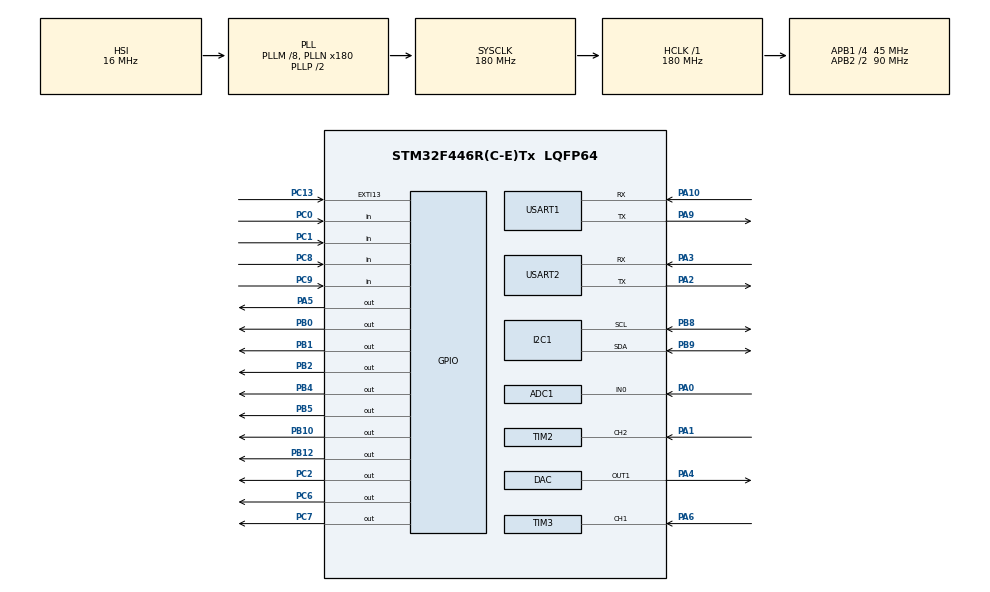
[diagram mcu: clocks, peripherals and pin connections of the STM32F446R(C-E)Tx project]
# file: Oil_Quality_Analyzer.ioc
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ADC1.Channel-0\#ChannelRegularConversion=ADC_CHANNEL_0
ADC1.ContinuousConvMode=ENABLE
ADC1.DMAContinuousRequests=ENABLE
ADC1.NbrOfConversionFlag=1
ADC1.Rank-0\#ChannelRegularConversion=1
ADC1.SamplingTime-0\#ChannelRegularConversion=ADC_SAMPLETIME_84CYCLES
ADC1.master=1
DAC.DAC_Trigger=DAC_TRIGGER_T6_TRGO
Dma.ADC1.1.Direction=DMA_PERIPH_TO_MEMORY
Dma.ADC1.1.FIFOMode=DMA_FIFOMODE_DISABLE
Dma.ADC1.1.Instance=DMA2_Stream0
Dma.ADC1.1.MemDataAlignment=DMA_MDATAALIGN_HALFWORD
Dma.ADC1.1.MemInc=DMA_MINC_ENABLE
Dma.ADC1.1.Mode=DMA_CIRCULAR
Dma.ADC1.1.PeriphDataAlignment=DMA_PDATAALIGN_HALFWORD
Dma.ADC1.1.PeriphInc=DMA_PINC_DISABLE
Dma.ADC1.1.Priority=DMA_PRIORITY_LOW
Dma.DAC1.0.Direction=DMA_MEMORY_TO_PERIPH
Dma.DAC1.0.FIFOMode=DMA_FIFOMODE_DISABLE
Dma.DAC1.0.Instance=DMA1_Stream5
Dma.DAC1.0.MemDataAlignment=DMA_MDATAALIGN_HALFWORD
Dma.DAC1.0.MemInc=DMA_MINC_ENABLE
Dma.DAC1.0.Mode=DMA_CIRCULAR
Dma.DAC1.0.PeriphDataAlignment=DMA_PDATAALIGN_HALFWORD
Dma.DAC1.0.PeriphInc=DMA_PINC_DISABLE
Dma.DAC1.0.Priority=DMA_PRIORITY_LOW
Dma.Request0=DAC1
Dma.Request1=ADC1
Mcu.Family=STM32F4
Mcu.Name=STM32F446R(C-E)Tx
Mcu.Package=LQFP64
NUCLEO-F446RE.BUTTON=1
NUCLEO-F446RE.LD1=true
NVIC.DMA1_Stream5_IRQn=true\:0\:0\:false\:false\:true\:false\:true\:true
NVIC.DMA2_Stream0_IRQn=true\:0\:0\:false\:false\:true\:false\:true\:true
NVIC.PriorityGroup=NVIC_PRIORITYGROUP_0
NVIC.TIM2_IRQn=true\:0\:0\:false\:false\:true\:true\:true\:true
NVIC.USART2_IRQn=true\:0\:0\:false\:false\:true\:true\:true\:true
PA0-WKUP.Signal=ADCx_IN0
PA1.Signal=S_TIM2_CH2
PA10.Mode=Asynchronous
PA10.Signal=USART1_RX
PA13.GPIO_Label=TMS
PA13.Signal=SYS_JTMS-SWDIO
PA14.GPIO_Label=TCK
PA14.Signal=SYS_JTCK-SWCLK
PA2.Mode=Asynchronous
PA2.Signal=USART2_TX
PA3.Mode=Asynchronous
PA3.Signal=USART2_RX
PA4.Signal=COMP_DAC1_group
PA5.Signal=GPIO_Output
PA6.Signal=S_TIM3_CH1
PA9.Mode=Asynchronous
PA9.Signal=USART1_TX
PB0.Signal=GPIO_Output
PB1.Signal=GPIO_Output
PB10.Signal=GPIO_Output
PB12.Signal=GPIO_Output
PB2.Signal=GPIO_Output
PB3.GPIO_Label=SWO
PB3.Signal=SYS_JTDO-SWO
PB4.Signal=GPIO_Output
PB5.Signal=GPIO_Output
PB8.Mode=I2C
PB8.Signal=I2C1_SCL
PB9.Mode=I2C
PB9.Signal=I2C1_SDA
PC0.Signal=GPIO_Input
PC1.GPIO_PuPd=GPIO_PULLUP
PC1.Signal=GPIO_Input
PC13.Signal=GPXTI13
PC14-OSC32_IN.Signal=RCC_OSC32_IN
PC15-OSC32_OUT.Signal=RCC_OSC32_OUT
PC2.Signal=GPIO_Output
PC6.Signal=GPIO_Output
PC7.Signal=GPIO_Output
PC8.Signal=GPIO_Input
PC9.Signal=GPIO_Input
PH0-OSC_IN.Signal=RCC_OSC_IN
PH1-OSC_OUT.Signal=RCC_OSC_OUT
ProjectManager.HeapSize=0x800
ProjectManager.StackSize=0x800
ProjectManager.TargetToolchain=STM32CubeIDE
RCC.AHBFreq_Value=180000000
RCC.APB1CLKDivider=RCC_HCLK_DIV4
RCC.APB1Freq_Value=45000000
RCC.APB1TimFreq_Value=90000000
RCC.APB2CLKDivider=RCC_HCLK_DIV2
RCC.APB2Freq_Value=90000000
RCC.APB2TimFreq_Value=180000000
RCC.CortexFreq_Value=180000000
RCC.FLatency-AdvancedSettings=FLASH_LATENCY_5
RCC.HCLKFreq_Value=180000000
RCC.HSE_VALUE=8000000
RCC.HSI_VALUE=16000000
RCC.LSE_VALUE=32768
RCC.PLLM=8
RCC.PLLN=180
RCC.PLLP=2
RCC.SYSCLKFreq_VALUE=180000000
RCC.SYSCLKSource=RCC_SYSCLKSOURCE_PLLCLK
RCC.USBFreq_Value=180000000
RCC.VCOOutputFreq_Value=360000000
SH.ADCx_IN0.0=ADC1_IN0,IN0
SH.COMP_DAC1_group.0=DAC_OUT1,DAC_OUT1
SH.S_TIM2_CH2.0=TIM2_CH2,Input_Capture2_from_TI2
SH.S_TIM3_CH1.0=TIM3_CH1,Input_Capture1_from_TI1
STMicroelectronics.X-CUBE-AI.10.2.1.ActivationBufferSizeList=10656
STMicroelectronics.X-CUBE-AI.10.2.1.ActivationBuffers=pool0
STMicroelectronics.X-CUBE-AI.10.2.1.ActivationNames=pool0
STMicroelectronics.X-CUBE-AI.10.2.1.ActivationSizes=AI_NETWORK_DATA_ACTIVATION_1_SIZE
STMicroelectronics.X-CUBE-AI.10.2.1.HeapSize=0x800
STMicroelectronics.X-CUBE-AI.10.2.1.InternalRamActivationBufferMaxSize=AI_NETWORK_DATA_ACTIVATIONS_SIZE
STMicroelectronics.X-CUBE-AI.10.2.1.LatestDirectoryUsed-713203b5ce6abf2aa2e4bab63b7be69a73a8976a0b17b081a81042c10fd89c64=C\:\\Users\\hari1\\Desktop\\Academics\\CO2 paper\\TinyCNN_v2_Project_Backup
STMicroelectronics.X-CUBE-AI.10.2.1.MaximumNumberOfInputLayer=1
STMicroelectronics.X-CUBE-AI.10.2.1.MaximumNumberOfOutputLayer=1
STMicroelectronics.X-CUBE-AI.10.2.1.MaximumSizeOfInputLayer=1
STMicroelectronics.X-CUBE-AI.10.2.1.MaximumSizeOfOutputLayer=1
STMicroelectronics.X-CUBE-AI.10.2.1.ModelActualCompression-713203b5ce6abf2aa2e4bab63b7be69a73a8976a0b17b081a81042c10fd89c64=0.0
STMicroelectronics.X-CUBE-AI.10.2.1.ModelCompression-713203b5ce6abf2aa2e4bab63b7be69a73a8976a0b17b081a81042c10fd89c64=None
STMicroelectronics.X-CUBE-AI.10.2.1.ModelFlashOccupation-713203b5ce6abf2aa2e4bab63b7be69a73a8976a0b17b081a81042c10fd89c64=23992
STMicroelectronics.X-CUBE-AI.10.2.1.ModelHashList=713203b5ce6abf2aa2e4bab63b7be69a73a8976a0b17b081a81042c10fd89c64
STMicroelectronics.X-CUBE-AI.10.2.1.ModelKind-713203b5ce6abf2aa2e4bab63b7be69a73a8976a0b17b081a81042c10fd89c64=TFLITE
STMicroelectronics.X-CUBE-AI.10.2.1.ModelMacc-713203b5ce6abf2aa2e4bab63b7be69a73a8976a0b17b081a81042c10fd89c64=123985
STMicroelectronics.X-CUBE-AI.10.2.1.ModelName-713203b5ce6abf2aa2e4bab63b7be69a73a8976a0b17b081a81042c10fd89c64=network
STMicroelectronics.X-CUBE-AI.10.2.1.ModelNameList=network
STMicroelectronics.X-CUBE-AI.10.2.1.ModelRamOccupation-713203b5ce6abf2aa2e4bab63b7be69a73a8976a0b17b081a81042c10fd89c64=10656
STMicroelectronics.X-CUBE-AI.10.2.1.ModelStructureFile-713203b5ce6abf2aa2e4bab63b7be69a73a8976a0b17b081a81042c10fd89c64=C\:\\Users\\hari1\\Desktop\\Academics\\CO2 paper\\TinyCNN_v2_Project_Backup\\tinycnn_fp32.tflite
STMicroelectronics.X-CUBE-AI.10.2.1.ModelType-713203b5ce6abf2aa2e4bab63b7be69a73a8976a0b17b081a81042c10fd89c64=STM32Cube.AI MCU runtime
STMicroelectronics.X-CUBE-AI.10.2.1.ReadyForCodeGeneration=true
STMicroelectronics.X-CUBE-AI.10.2.1.StackSize=0x800
STMicroelectronics.X-CUBE-AI.10.2.1.WorkingBufferStartAddrList=0xFFFFFFFF
STMicroelectronics.X-CUBE-AI.10.2.1.XAaCUBEAaAICcArtificialOoIntelligenceJjCore=true
STMicroelectronics.X-CUBE-AI.10.2.1.copyWeightToRam=false
STMicroelectronics.X-CUBE-AI.10.2.1.copyWeightToRam-713203b5ce6abf2aa2e4bab63b7be69a73a8976a0b17b081a81042c10fd89c64=false
STMicroelectronics.X-CUBE-AI.10.2.1.customLayerConfigEnabled=false
STMicroelectronics.X-CUBE-AI.10.2.1.customLayerConfigEnabled-713203b5ce6abf2aa2e4bab63b7be69a73a8976a0b17b081a81042c10fd89c64=false
STMicroelectronics.X-CUBE-AI.10.2.1.noOnnxIoTranspose=false
STMicroelectronics.X-CUBE-AI.10.2.1.noOnnxIoTranspose-713203b5ce6abf2aa2e4bab63b7be69a73a8976a0b17b081a81042c10fd89c64=false
STMicroelectronics.X-CUBE-AI.10.2.1.useInputAllocation=true
STMicroelectronics.X-CUBE-AI.10.2.1.useInputAllocation-713203b5ce6abf2aa2e4bab63b7be69a73a8976a0b17b081a81042c10fd89c64=true
STMicroelectronics.X-CUBE-AI.10.2.1.useOutputAllocation=true
STMicroelectronics.X-CUBE-AI.10.2.1.useOutputAllocation-713203b5ce6abf2aa2e4bab63b7be69a73a8976a0b17b081a81042c10fd89c64=true
TIM2.Channel-Input_Capture2_from_TI2=TIM_CHANNEL_2
TIM2.Prescaler=89
TIM3.Channel-Input_Capture1_from_TI1=TIM_CHANNEL_1
TIM6.Period=624
TIM6.TIM_MasterOutputTrigger=TIM_TRGO_UPDATE
USART1.VirtualMode=VM_ASYNC
USART2.VirtualMode=VM_ASYNC
VP_CRC_VS_CRC.Mode=CRC_Activate
VP_NUCLEO-F446RE_VS_BSP_COMMON.Mode=COMMON
VP_STMicroelectronics.X-CUBE-AI_VS_ArtificialOoIntelligenceJjXAaCUBEAaAI_10.2.1.Mode=ArtificialOoIntelligenceJjXAaCUBEAaAI
VP_TIM6_VS_ClockSourceINT.Mode=Enable_Timer
board=NUCLEO-F446RE

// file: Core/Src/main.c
/* USER CODE BEGIN Header */
/**
  ******************************************************************************
  * @file           : main.c
  * @brief          : Main program body
  ******************************************************************************
  * @attention
  *
  * Copyright (c) 2026 STMicroelectronics.
  * All rights reserved.
  *
  * This software is licensed under terms that can be found in the LICENSE file
  * in the root directory of this software component.
  * If no LICENSE file comes with this software, it is provided AS-IS.
  *
  ******************************************************************************
  */
/* USER CODE END Header */
#include "main.h"

/* USER CODE BEGIN Includes */
#include <stdio.h>
#include <string.h>
#include <stdarg.h>

#include "lcd.h"
#include "ds18b20.h"
#include "impedance.h"
#include "gradient_boosting_model.h"

/* USER CODE END Includes */

/* USER CODE BEGIN PD */

#define TCS_S0_PORT GPIOB
#define TCS_S0_PIN  GPIO_PIN_0

#define TCS_S1_PORT GPIOB
#define TCS_S1_PIN  GPIO_PIN_1

#define TCS_S2_PORT GPIOB
#define TCS_S2_PIN  GPIO_PIN_2

#define TCS_S3_PORT GPIOB
#define TCS_S3_PIN  GPIO_PIN_10

#define DHT11_PORT GPIOB
#define DHT11_PIN  GPIO_PIN_12

/* USER CODE END PD */

ADC_HandleTypeDef hadc1;
DMA_HandleTypeDef hdma_adc1;

CRC_HandleTypeDef hcrc;

DAC_HandleTypeDef hdac;
DMA_HandleTypeDef hdma_dac1;

I2C_HandleTypeDef hi2c1;

TIM_HandleTypeDef htim2;
TIM_HandleTypeDef htim3;
TIM_HandleTypeDef htim6;

UART_HandleTypeDef huart1;
UART_HandleTypeDef huart2;

/* USER CODE BEGIN PV */

float dht11_humidity = 0.0f;
volatile uint32_t tcs_capture1 = 0;
volatile uint32_t tcs_capture2 = 0;
volatile uint32_t tcs_period = 0;

volatile uint32_t tcs_edge_count = 0;

volatile uint8_t tcs_capture_done = 0;
volatile uint8_t tcs_capture_state = 0;

uint32_t tcs_red = 0;
uint32_t tcs_green = 0;
uint32_t tcs_blue = 0;

/* Impedance */
ImpedanceResult_t impedance_result;

/* USER CODE END PV */

void SystemClock_Config(void);
static void MX_GPIO_Init(void);
static void MX_DMA_Init(void);
static void MX_CRC_Init(void);
static void MX_ADC1_Init(void);
static void MX_I2C1_Init(void);
static void MX_TIM3_Init(void);
static void MX_USART1_UART_Init(void);
static void MX_TIM2_Init(void);
static void MX_USART2_UART_Init(void);
static void MX_DAC_Init(void);
static void MX_TIM6_Init(void);

/* USER CODE BEGIN 0 */

static void Debug_Print(const char *text)
{
    HAL_UART_Transmit(
        &huart2,
        (uint8_t *)text,
        strlen(text),
        HAL_MAX_DELAY
    );
}

static void Debug_Printf(const char *format, ...)
{
    char buffer[256];
    va_list args;

    va_start(args, format);

    vsnprintf(
        buffer,
        sizeof(buffer),
        format,
        args
    );

    va_end(args);

    HAL_UART_Transmit(
        &huart2,
        (uint8_t *)buffer,
        strlen(buffer),
        HAL_MAX_DELAY
    );
}

/* =========================================================
 * DHT11 FUNCTIONS
 * ========================================================= */

static void DHT11_SetOutput(void)
{
    GPIO_InitTypeDef GPIO_InitStruct = {0};

    GPIO_InitStruct.Pin = DHT11_PIN;
    GPIO_InitStruct.Mode = GPIO_MODE_OUTPUT_PP;
    GPIO_InitStruct.Pull = GPIO_NOPULL;
    GPIO_InitStruct.Speed = GPIO_SPEED_FREQ_HIGH;

    HAL_GPIO_Init(DHT11_PORT, &GPIO_InitStruct);
}

static void DHT11_SetInput(void)
{
    GPIO_InitTypeDef GPIO_InitStruct = {0};

    GPIO_InitStruct.Pin = DHT11_PIN;
    GPIO_InitStruct.Mode = GPIO_MODE_INPUT;
    GPIO_InitStruct.Pull = GPIO_PULLUP;
    GPIO_InitStruct.Speed = GPIO_SPEED_FREQ_HIGH;

    HAL_GPIO_Init(DHT11_PORT, &GPIO_InitStruct);
}

/*
 * Microsecond delay using DWT cycle counter.
 */
static void DHT11_Delay_us(uint32_t us)
{
    uint32_t start = DWT->CYCCNT;

    uint32_t cycles =
        us * (HAL_RCC_GetHCLKFreq() / 1000000U);

    while ((DWT->CYCCNT - start) < cycles)
    {
    }
}

/*
 * Initialize DWT cycle counter.
 */
static void DHT11_DWT_Init(void)
{
    CoreDebug->DEMCR |= CoreDebug_DEMCR_TRCENA_Msk;

    DWT->CYCCNT = 0;

    DWT->CTRL |= DWT_CTRL_CYCCNTENA_Msk;
}

/*
 * Wait until DHT11 data line reaches requested level.
 */
static uint8_t DHT11_WaitForLevel(
    GPIO_PinState level,
    uint32_t timeout_us)
{
    uint32_t start = DWT->CYCCNT;

    uint32_t timeout_cycles =
        timeout_us *
        (HAL_RCC_GetHCLKFreq() / 1000000U);

    while (HAL_GPIO_ReadPin(
               DHT11_PORT,
               DHT11_PIN) != level)
    {
        if ((DWT->CYCCNT - start) > timeout_cycles)
        {
            return 0;
        }
    }

    return 1;
}

/*
 * Read DHT11 humidity.
 *
 * DHT11 sends 40 bits:
 *
 * Byte 0 = Humidity integer
 * Byte 1 = Humidity decimal
 * Byte 2 = Temperature integer
 * Byte 3 = Temperature decimal
 * Byte 4 = Checksum
 *
 * For DHT11:
 *
 * Humidity = data[0]
 * Temperature = data[2]
 */
static HAL_StatusTypeDef DHT11_Read(float *humidity)
{
    uint8_t data[5] = {0};

    if (humidity == NULL)
    {
        return HAL_ERROR;
    }

    /* DHT11 requires a start pulse of at least 18 ms. */
    DHT11_SetOutput();
    HAL_GPIO_WritePin(DHT11_PORT, DHT11_PIN, GPIO_PIN_RESET);
    HAL_Delay(20);
    HAL_GPIO_WritePin(DHT11_PORT, DHT11_PIN, GPIO_PIN_SET);
    DHT11_Delay_us(30);
    DHT11_SetInput();

    /* Sensor response: LOW (~80 us), then HIGH (~80 us). */
    if (!DHT11_WaitForLevel(GPIO_PIN_RESET, 100U) ||
        !DHT11_WaitForLevel(GPIO_PIN_SET, 100U) ||
        !DHT11_WaitForLevel(GPIO_PIN_RESET, 100U))
    {
        return HAL_TIMEOUT;
    }

    /* Read 40 bits. A longer HIGH pulse represents a one. */
    for (uint8_t bit = 0; bit < 40U; bit++)
    {
        if (!DHT11_WaitForLevel(GPIO_PIN_SET, 100U))
        {
            return HAL_TIMEOUT;
        }

        DHT11_Delay_us(40U);
        data[bit / 8U] <<= 1U;
        if (HAL_GPIO_ReadPin(DHT11_PORT, DHT11_PIN) == GPIO_PIN_SET)
        {
            data[bit / 8U] |= 1U;
        }

        if (!DHT11_WaitForLevel(GPIO_PIN_RESET, 100U))
        {
            return HAL_TIMEOUT;
        }
    }

    /* DHT11 checksum is the low eight bits of the first four bytes' sum. */
    if ((uint8_t)(data[0] + data[1] + data[2] + data[3]) != data[4])
    {
        return HAL_ERROR;
    }

    /* DHT11 reports integer humidity in data[0]. */
    *humidity = (float)data[0] + ((float)data[1] / 10.0f);
    return HAL_OK;
}

/* =========================================================
 * TCS3200 FUNCTIONS
 * ========================================================= */

static void TCS3200_SetFilter(uint8_t filter)
{
    switch (filter)
    {
        case 0:     // RED
            HAL_GPIO_WritePin(TCS_S2_PORT, TCS_S2_PIN, GPIO_PIN_RESET);
            HAL_GPIO_WritePin(TCS_S3_PORT, TCS_S3_PIN, GPIO_PIN_RESET);
            break;

        case 1:     // GREEN
            HAL_GPIO_WritePin(TCS_S2_PORT, TCS_S2_PIN, GPIO_PIN_SET);
            HAL_GPIO_WritePin(TCS_S3_PORT, TCS_S3_PIN, GPIO_PIN_SET);
            break;

        case 2:     // BLUE
            HAL_GPIO_WritePin(TCS_S2_PORT, TCS_S2_PIN, GPIO_PIN_RESET);
            HAL_GPIO_WritePin(TCS_S3_PORT, TCS_S3_PIN, GPIO_PIN_SET);
            break;

        case 3:     // CLEAR
            HAL_GPIO_WritePin(TCS_S2_PORT, TCS_S2_PIN, GPIO_PIN_SET);
            HAL_GPIO_WritePin(TCS_S3_PORT, TCS_S3_PIN, GPIO_PIN_RESET);
            break;
    }
}

static void TCS3200_Init(void)
{
    Debug_Print("[TCS] Initializing...\r\n");

    /*
     * S0 = HIGH
     * S1 = LOW
     *
     * Frequency scaling = 20%
     */
    HAL_GPIO_WritePin(
        TCS_S0_PORT,
        TCS_S0_PIN,
        GPIO_PIN_SET
    );

    HAL_GPIO_WritePin(
        TCS_S1_PORT,
        TCS_S1_PIN,
        GPIO_PIN_RESET
    );

    /*
     * Start with RED filter.
     */
    TCS3200_SetFilter(0);

    /*
     * Reset debug counters.
     */
    tcs_edge_count = 0;
    tcs_capture_done = 0;
    tcs_capture_state = 0;
    tcs_period = 0;

    /*
     * Start TIM3 CH1 input capture.
     *
     * PA6 = TIM3_CH1 = TCS OUT
     */
    if (HAL_TIM_IC_Start_IT(
            &htim3,
            TIM_CHANNEL_1
        ) != HAL_OK)
    {
        Debug_Print("[TCS][ERROR] TIM3 CH1 start FAILED\r\n");
        return;
    }

    Debug_Print("[TCS][OK] TIM3 CH1 capture started\r\n");

    Debug_Printf(
        "[TCS] S0=%d S1=%d S2=%d S3=%d\r\n",
        HAL_GPIO_ReadPin(TCS_S0_PORT, TCS_S0_PIN),
        HAL_GPIO_ReadPin(TCS_S1_PORT, TCS_S1_PIN),
        HAL_GPIO_ReadPin(TCS_S2_PORT, TCS_S2_PIN),
        HAL_GPIO_ReadPin(TCS_S3_PORT, TCS_S3_PIN)
    );

    Debug_Print("[TCS] OUT = PA6 / TIM3_CH1\r\n");
}

static uint32_t TCS3200_ReadFrequency(void)
{
    uint32_t timeout;

    tcs_capture_done = 0;
    tcs_capture_state = 0;
    tcs_period = 0;

    uint32_t edges_before = tcs_edge_count;

    timeout = HAL_GetTick();

    while (!tcs_capture_done)
    {
        if ((HAL_GetTick() - timeout) > 100)
        {
            Debug_Printf(
                "[TCS][DEBUG] TIMEOUT | edges=%lu | period=%lu\r\n",
                tcs_edge_count - edges_before,
                tcs_period
            );

            return 0;
        }
    }

    Debug_Printf(
        "[TCS][DEBUG] edges=%lu period=%lu\r\n",
        tcs_edge_count - edges_before,
        tcs_period
    );

    if (tcs_period == 0)
    {
        Debug_Print("[TCS][ERROR] Period = 0\r\n");
        return 0;
    }

    uint32_t frequency =
        1000000UL / tcs_period;

    Debug_Printf(
        "[TCS][OK] Frequency = %lu Hz\r\n",
        frequency
    );

    return frequency;
}

static uint32_t TCS3200_ReadColor(uint8_t filter)
{
    TCS3200_SetFilter(filter);

    /*
     * Allow the sensor output to settle after
     * changing the color filter.
     */
    HAL_Delay(50);

    return TCS3200_ReadFrequency();
}

static void TCS3200_ReadRGB(
    uint32_t *red,
    uint32_t *green,
    uint32_t *blue)
{
    *red = TCS3200_ReadColor(0);
    *green = TCS3200_ReadColor(1);
    *blue = TCS3200_ReadColor(2);
}

/*
 * TCS3200-only oil appearance classification.
 * These thresholds are provisional and must be calibrated against measured
 * fresh/used-oil samples under controlled illumination and fixed geometry.
 * This classification is independent of the ML remaining-cycle prediction.
 * Return 1 for FRESH and 0 for USED.
 */
static uint8_t TCS_ClassifyOil(uint32_t red, uint32_t green, uint32_t blue)
{
    uint8_t fresh_score = 0U;

    if (red >= 393U)   fresh_score++;
    if (green >= 397U) fresh_score++;
    if (blue >= 493U)  fresh_score++;

    return (fresh_score >= 2U) ? 1U : 0U;
}

int main(void)
{

  /* USER CODE BEGIN 1 */

     float temperature = 0.0f;
    HAL_StatusTypeDef temperature_status = HAL_ERROR;
    HAL_StatusTypeDef humidity_status = HAL_ERROR;
    HAL_StatusTypeDef impedance_status = HAL_ERROR;
    char lcd_line1[17];
    char lcd_line2[17];
    uint8_t lcd_page = 0U;
    uint8_t oil_is_fresh = 0U;
    uint8_t tcs_readings_valid = 0U;
    uint8_t model_inputs_valid = 0U;
    int32_t remaining_cycles = -1;
  /* USER CODE END 1 */

  /* MCU Configuration--------------------------------------------------------*/

  /* Reset of all peripherals, Initializes the Flash interface and the Systick. */
  HAL_Init();

  /* Configure the system clock */
  SystemClock_Config();

  /* Initialize all configured peripherals */
  MX_GPIO_Init();
  MX_DMA_Init();
  MX_CRC_Init();
  MX_ADC1_Init();
  MX_I2C1_Init();
  MX_TIM3_Init();
  MX_USART1_UART_Init();
  MX_TIM2_Init();
  MX_USART2_UART_Init();
  MX_DAC_Init();
  MX_TIM6_Init();
  /* USER CODE BEGIN 2 */

  DHT11_DWT_Init();

  Debug_Print("\r\n\r\n");

  Debug_Print("Oil Quality Analyzer - live sensor acquisition\r\n");

  Debug_Print("\r\n");

  /* =========================================================
   * LCD
   * ========================================================= */

  Debug_Print("[INIT] Initializing LCD...\r\n");

  LCD_Init(&hi2c1);

  LCD_Clear();

  LCD_SetCursor(0, 0);
  LCD_Print("Oil Quality");

  LCD_SetCursor(1, 0);
  LCD_Print("Initializing...");

  HAL_Delay(1500);

  Debug_Print("[OK] LCD initialized\r\n");

  /* =========================================================
   * DS18B20
   * ========================================================= */

  Debug_Print("[INIT] Checking DS18B20...\r\n");

  if (DS18B20_Init() == HAL_OK)
  {
      Debug_Print("[OK] DS18B20 detected\r\n");
  }
  else
  {
      Debug_Print("[WARN] DS18B20 NOT detected\r\n");
  }

  /* =========================================================
   * IMPEDANCE
   * ========================================================= */

  Debug_Print("[INIT] Initializing impedance measurement...\r\n");

  Impedance_Init();

  Debug_Print("[OK] Impedance initialized\r\n");

  /* =========================================================
   * TCS3200
   * ========================================================= */

  Debug_Print("[INIT] Initializing TCS3200...\r\n");

  TCS3200_Init();

  Debug_Print("[OK] TCS3200 initialized\r\n");

  /* =========================================================
   * SYSTEM READY
   * ========================================================= */

  Debug_Print("\r\n");

  Debug_Print("========================================\r\n");
  Debug_Print("       SYSTEM READY\r\n");
  Debug_Print("========================================\r\n");

  Debug_Print("\r\n");

  LCD_Clear();

  LCD_SetCursor(0, 0);
  LCD_Print("Live Readings");

  LCD_SetCursor(1, 0);
  LCD_Print("Sensors starting");

  HAL_Delay(500);

  /* USER CODE END 2 */

  /* Initialize leds */
  BSP_LED_Init(LED2);

  /* Initialize USER push-button, will be used to trigger an interrupt each time it's pressed.*/
  BSP_PB_Init(BUTTON_USER, BUTTON_MODE_EXTI);

  /* Infinite loop */
  /* USER CODE BEGIN WHILE */
  while (1)
  {
      /* Acquire actual temperature from the DS18B20. */
      temperature_status = DS18B20_ReadTemperature(&temperature);

      /* Acquire actual relative humidity from the DHT11. */
      humidity_status = DHT11_Read(&dht11_humidity);

      /* Read the TCS3200 output frequencies for each colour filter. */
      TCS3200_ReadRGB(&tcs_red, &tcs_green, &tcs_blue);

      /* Measure the analog response of the impedance circuit. */
      impedance_status = Impedance_Measure(&impedance_result);

      /* Classify oil from TCS3200 readings only (provisional thresholds). */
      tcs_readings_valid = (tcs_red > 0U && tcs_green > 0U && tcs_blue > 0U);
      if (tcs_readings_valid)
      {
          oil_is_fresh = TCS_ClassifyOil(tcs_red, tcs_green, tcs_blue);
      }

      /*
       * Run the ML model only when every required input is a successful,
       * non-zero live acquisition. The model output is remaining cycles only;
       * it does not decide whether the oil is fresh or used.
       */
      model_inputs_valid = (temperature_status == HAL_OK) &&
                           (humidity_status == HAL_OK) &&
                           (impedance_status == HAL_OK) &&
                           tcs_readings_valid;
      remaining_cycles = -1;
      if (model_inputs_valid)
      {
          remaining_cycles = oil_quality_predict(
              temperature,
              dht11_humidity,
              (float)tcs_red,
              (float)tcs_green,
              (float)tcs_blue,
              impedance_result.ac_rms_voltage
          );

          if (remaining_cycles < 0 || remaining_cycles > 4)
          {
              remaining_cycles = -1;
          }
      }

      /* Print raw acquired values, sensor-derived oil class, and ML estimate. */
      Debug_Print("\r\n========== LIVE SENSOR READINGS ==========\r\n");

      if (temperature_status == HAL_OK)
          Debug_Printf("DS18B20 temperature: %.2f C\r\n", temperature);
      else
          Debug_Printf("DS18B20 temperature: ERROR (status=%d)\r\n", temperature_status);

      if (humidity_status == HAL_OK)
          Debug_Printf("DHT11 humidity: %.1f %%RH\r\n", dht11_humidity);
      else
          Debug_Printf("DHT11 humidity: ERROR (status=%d)\r\n", humidity_status);

      Debug_Printf("TCS3200 red frequency: %lu Hz\r\n", tcs_red);
      Debug_Printf("TCS3200 green frequency: %lu Hz\r\n", tcs_green);
      Debug_Printf("TCS3200 blue frequency: %lu Hz\r\n", tcs_blue);

      if (impedance_status == HAL_OK)
      {
          Debug_Printf("Impedance circuit DC voltage: %.4f V\r\n", impedance_result.dc_voltage);
          Debug_Printf("Impedance circuit RMS voltage: %.4f V\r\n", impedance_result.rms_voltage);
          Debug_Printf("Impedance circuit AC RMS voltage: %.4f V\r\n", impedance_result.ac_rms_voltage);
          Debug_Printf("Excitation frequency: %lu Hz\r\n", impedance_result.frequency_hz);
      }
      else
      {
          Debug_Printf("Impedance circuit measurement: ERROR (status=%d)\r\n", impedance_status);
      }

      if (tcs_readings_valid)
          Debug_Printf("TCS-based oil classification: %s\r\n", oil_is_fresh ? "FRESH" : "USED");
      else
          Debug_Print("TCS-based oil classification: UNAVAILABLE (sensor timeout)\r\n");

      if (remaining_cycles >= 0)
          Debug_Printf("ML predicted remaining frying cycles: %ld\r\n", (long)remaining_cycles);
      else
          Debug_Print("ML remaining-cycle prediction: UNAVAILABLE (invalid sensor input)\r\n");

      Debug_Print("==========================================\r\n");

      /* Rotate the 16x2 LCD through four pages of measurements and results. */
      LCD_Clear();
      switch (lcd_page)
      {
          case 0U:
              if (temperature_status == HAL_OK)
                  snprintf(lcd_line1, sizeof(lcd_line1), "Temp: %.1f C", temperature);
              else
                  snprintf(lcd_line1, sizeof(lcd_line1), "Temp: SENSOR ERR");

              if (humidity_status == HAL_OK)
                  snprintf(lcd_line2, sizeof(lcd_line2), "Humidity: %.1f%%", dht11_humidity);
              else
                  snprintf(lcd_line2, sizeof(lcd_line2), "Humidity: ERROR");
              break;

          case 1U:
              snprintf(lcd_line1, sizeof(lcd_line1), "R:%lu G:%lu", tcs_red, tcs_green);
              snprintf(lcd_line2, sizeof(lcd_line2), "B:%lu Hz", tcs_blue);
              break;

          case 2U:
              if (impedance_status == HAL_OK)
              {
                  snprintf(lcd_line1, sizeof(lcd_line1), "AC RMS: %.3fV", impedance_result.ac_rms_voltage);
                  snprintf(lcd_line2, sizeof(lcd_line2), "DC: %.3fV", impedance_result.dc_voltage);
              }
              else
              {
                  snprintf(lcd_line1, sizeof(lcd_line1), "Impedance ERROR");
                  snprintf(lcd_line2, sizeof(lcd_line2), "Check circuit");
              }
              break;

          default:
              if (tcs_readings_valid)
                  snprintf(lcd_line1, sizeof(lcd_line1), "Oil: %s", oil_is_fresh ? "FRESH" : "USED");
              else
                  snprintf(lcd_line1, sizeof(lcd_line1), "Oil: TCS ERROR");

              if (remaining_cycles >= 0)
                  snprintf(lcd_line2, sizeof(lcd_line2), "Cycles left: %ld", (long)remaining_cycles);
              else
                  snprintf(lcd_line2, sizeof(lcd_line2), "Cycles: ML N/A");
              break;
      }

      LCD_SetCursor(0, 0);
      LCD_Print(lcd_line1);
      LCD_SetCursor(1, 0);
      LCD_Print(lcd_line2);

      lcd_page = (uint8_t)((lcd_page + 1U) % 4U);
      HAL_Delay(2000);
  }

    /* USER CODE END WHILE */

}

void SystemClock_Config(void)
{
  RCC_OscInitTypeDef RCC_OscInitStruct = {0};
  RCC_ClkInitTypeDef RCC_ClkInitStruct = {0};

  /** Configure the main internal regulator output voltage
  */
  __HAL_RCC_PWR_CLK_ENABLE();
  __HAL_PWR_VOLTAGESCALING_CONFIG(PWR_REGULATOR_VOLTAGE_SCALE1);

  /** Initializes the RCC Oscillators according to the specified parameters
  * in the RCC_OscInitTypeDef structure.
  */
  RCC_OscInitStruct.OscillatorType = RCC_OSCILLATORTYPE_HSI;
  RCC_OscInitStruct.HSIState = RCC_HSI_ON;
  RCC_OscInitStruct.HSICalibrationValue = RCC_HSICALIBRATION_DEFAULT;
  RCC_OscInitStruct.PLL.PLLState = RCC_PLL_ON;
  RCC_OscInitStruct.PLL.PLLSource = RCC_PLLSOURCE_HSI;
  RCC_OscInitStruct.PLL.PLLM = 8;
  RCC_OscInitStruct.PLL.PLLN = 180;
  RCC_OscInitStruct.PLL.PLLP = 2;
  RCC_OscInitStruct.PLL.PLLQ = 2;
  RCC_OscInitStruct.PLL.PLLR = 2;
  if (HAL_RCC_OscConfig(&RCC_OscInitStruct) != HAL_OK)
  {
    Error_Handler();
  }

  /** Activate the Over-Drive mode
  */
  if (HAL_PWREx_EnableOverDrive() != HAL_OK)
  {
    Error_Handler();
  }

  /** Initializes the CPU, AHB and APB buses clocks
  */
  RCC_ClkInitStruct.ClockType = RCC_CLOCKTYPE_HCLK|RCC_CLOCKTYPE_SYSCLK
                              |RCC_CLOCKTYPE_PCLK1|RCC_CLOCKTYPE_PCLK2;
  RCC_ClkInitStruct.SYSCLKSource = RCC_SYSCLKSOURCE_PLLCLK;
  RCC_ClkInitStruct.AHBCLKDivider = RCC_SYSCLK_DIV1;
  RCC_ClkInitStruct.APB1CLKDivider = RCC_HCLK_DIV4;
  RCC_ClkInitStruct.APB2CLKDivider = RCC_HCLK_DIV2;

  if (HAL_RCC_ClockConfig(&RCC_ClkInitStruct, FLASH_LATENCY_5) != HAL_OK)
  {
    Error_Handler();
  }
}

static void MX_ADC1_Init(void)
{

  ADC_ChannelConfTypeDef sConfig = {0};

  /** Configure the global features of the ADC (Clock, Resolution, Data Alignment and number of conversion)
  */
  hadc1.Instance = ADC1;
  hadc1.Init.ClockPrescaler = ADC_CLOCK_SYNC_PCLK_DIV4;
  hadc1.Init.Resolution = ADC_RESOLUTION_12B;
  hadc1.Init.ScanConvMode = DISABLE;
  hadc1.Init.ContinuousConvMode = ENABLE;
  hadc1.Init.DiscontinuousConvMode = DISABLE;
  hadc1.Init.ExternalTrigConvEdge = ADC_EXTERNALTRIGCONVEDGE_NONE;
  hadc1.Init.ExternalTrigConv = ADC_SOFTWARE_START;
  hadc1.Init.DataAlign = ADC_DATAALIGN_RIGHT;
  hadc1.Init.NbrOfConversion = 1;
  hadc1.Init.DMAContinuousRequests = ENABLE;
  hadc1.Init.EOCSelection = ADC_EOC_SINGLE_CONV;
  if (HAL_ADC_Init(&hadc1) != HAL_OK)
  {
    Error_Handler();
  }

  /** Configure for the selected ADC regular channel its corresponding rank in the sequencer and its sample time.
  */
  sConfig.Channel = ADC_CHANNEL_0;
  sConfig.Rank = 1;
  sConfig.SamplingTime = ADC_SAMPLETIME_84CYCLES;
  if (HAL_ADC_ConfigChannel(&hadc1, &sConfig) != HAL_OK)
  {
    Error_Handler();
  }

}

static void MX_CRC_Init(void)
{

  hcrc.Instance = CRC;
  if (HAL_CRC_Init(&hcrc) != HAL_OK)
  {
    Error_Handler();
  }

}

static void MX_DAC_Init(void)
{

  DAC_ChannelConfTypeDef sConfig = {0};

  /** DAC Initialization
  */
  hdac.Instance = DAC;
  if (HAL_DAC_Init(&hdac) != HAL_OK)
  {
    Error_Handler();
  }

  /** DAC channel OUT1 config
  */
  sConfig.DAC_Trigger = DAC_TRIGGER_T6_TRGO;
  sConfig.DAC_OutputBuffer = DAC_OUTPUTBUFFER_ENABLE;
  if (HAL_DAC_ConfigChannel(&hdac, &sConfig, DAC_CHANNEL_1) != HAL_OK)
  {
    Error_Handler();
  }

}

static void MX_I2C1_Init(void)
{

  hi2c1.Instance = I2C1;
  hi2c1.Init.ClockSpeed = 100000;
  hi2c1.Init.DutyCycle = I2C_DUTYCYCLE_2;
  hi2c1.Init.OwnAddress1 = 0;
  hi2c1.Init.AddressingMode = I2C_ADDRESSINGMODE_7BIT;
  hi2c1.Init.DualAddressMode = I2C_DUALADDRESS_DISABLE;
  hi2c1.Init.OwnAddress2 = 0;
  hi2c1.Init.GeneralCallMode = I2C_GENERALCALL_DISABLE;
  hi2c1.Init.NoStretchMode = I2C_NOSTRETCH_DISABLE;
  if (HAL_I2C_Init(&hi2c1) != HAL_OK)
  {
    Error_Handler();
  }

}

static void MX_TIM2_Init(void)
{

  TIM_MasterConfigTypeDef sMasterConfig = {0};
  TIM_IC_InitTypeDef sConfigIC = {0};

  htim2.Instance = TIM2;
  htim2.Init.Prescaler = 89;
  htim2.Init.CounterMode = TIM_COUNTERMODE_UP;
  htim2.Init.Period = 4294967295;
  htim2.Init.ClockDivision = TIM_CLOCKDIVISION_DIV1;
  htim2.Init.AutoReloadPreload = TIM_AUTORELOAD_PRELOAD_DISABLE;
  if (HAL_TIM_IC_Init(&htim2) != HAL_OK)
  {
    Error_Handler();
  }
  sMasterConfig.MasterOutputTrigger = TIM_TRGO_RESET;
  sMasterConfig.MasterSlaveMode = TIM_MASTERSLAVEMODE_DISABLE;
  if (HAL_TIMEx_MasterConfigSynchronization(&htim2, &sMasterConfig) != HAL_OK)
  {
    Error_Handler();
  }
  sConfigIC.ICPolarity = TIM_INPUTCHANNELPOLARITY_RISING;
  sConfigIC.ICSelection = TIM_ICSELECTION_DIRECTTI;
  sConfigIC.ICPrescaler = TIM_ICPSC_DIV1;
  sConfigIC.ICFilter = 0;
  if (HAL_TIM_IC_ConfigChannel(&htim2, &sConfigIC, TIM_CHANNEL_2) != HAL_OK)
  {
    Error_Handler();
  }

}

static void MX_TIM3_Init(void)
{

  TIM_MasterConfigTypeDef sMasterConfig = {0};
  TIM_IC_InitTypeDef sConfigIC = {0};

  htim3.Instance = TIM3;
  htim3.Init.Prescaler = 89;
  htim3.Init.CounterMode = TIM_COUNTERMODE_UP;
  htim3.Init.Period = 65535;
  htim3.Init.ClockDivision = TIM_CLOCKDIVISION_DIV1;
  htim3.Init.AutoReloadPreload = TIM_AUTORELOAD_PRELOAD_DISABLE;
  if (HAL_TIM_IC_Init(&htim3) != HAL_OK)
  {
    Error_Handler();
  }
  sMasterConfig.MasterOutputTrigger = TIM_TRGO_RESET;
  sMasterConfig.MasterSlaveMode = TIM_MASTERSLAVEMODE_DISABLE;
  if (HAL_TIMEx_MasterConfigSynchronization(&htim3, &sMasterConfig) != HAL_OK)
  {
    Error_Handler();
  }
  sConfigIC.ICPolarity = TIM_INPUTCHANNELPOLARITY_RISING;
  sConfigIC.ICSelection = TIM_ICSELECTION_DIRECTTI;
  sConfigIC.ICPrescaler = TIM_ICPSC_DIV1;
  sConfigIC.ICFilter = 0;
  if (HAL_TIM_IC_ConfigChannel(&htim3, &sConfigIC, TIM_CHANNEL_1) != HAL_OK)
  {
    Error_Handler();
  }

}

static void MX_TIM6_Init(void)
{

  TIM_MasterConfigTypeDef sMasterConfig = {0};

  htim6.Instance = TIM6;
  htim6.Init.Prescaler = 0;
  htim6.Init.CounterMode = TIM_COUNTERMODE_UP;
  htim6.Init.Period = 624;
  htim6.Init.AutoReloadPreload = TIM_AUTORELOAD_PRELOAD_DISABLE;
  if (HAL_TIM_Base_Init(&htim6) != HAL_OK)
  {
    Error_Handler();
  }
  sMasterConfig.MasterOutputTrigger = TIM_TRGO_UPDATE;
  sMasterConfig.MasterSlaveMode = TIM_MASTERSLAVEMODE_DISABLE;
  if (HAL_TIMEx_MasterConfigSynchronization(&htim6, &sMasterConfig) != HAL_OK)
  {
    Error_Handler();
  }

}

static void MX_USART1_UART_Init(void)
{

  huart1.Instance = USART1;
  huart1.Init.BaudRate = 115200;
  huart1.Init.WordLength = UART_WORDLENGTH_8B;
  huart1.Init.StopBits = UART_STOPBITS_1;
  huart1.Init.Parity = UART_PARITY_NONE;
  huart1.Init.Mode = UART_MODE_TX_RX;
  huart1.Init.HwFlowCtl = UART_HWCONTROL_NONE;
  huart1.Init.OverSampling = UART_OVERSAMPLING_16;
  if (HAL_UART_Init(&huart1) != HAL_OK)
  {
    Error_Handler();
  }

}

static void MX_USART2_UART_Init(void)
{

  huart2.Instance = USART2;
  huart2.Init.BaudRate = 115200;
  huart2.Init.WordLength = UART_WORDLENGTH_8B;
  huart2.Init.StopBits = UART_STOPBITS_1;
  huart2.Init.Parity = UART_PARITY_NONE;
  huart2.Init.Mode = UART_MODE_TX_RX;
  huart2.Init.HwFlowCtl = UART_HWCONTROL_NONE;
  huart2.Init.OverSampling = UART_OVERSAMPLING_16;
  if (HAL_UART_Init(&huart2) != HAL_OK)
  {
    Error_Handler();
  }

}

static void MX_DMA_Init(void)
{

  /* DMA controller clock enable */
  __HAL_RCC_DMA1_CLK_ENABLE();
  __HAL_RCC_DMA2_CLK_ENABLE();

  /* DMA interrupt init */
  /* DMA1_Stream5_IRQn interrupt configuration */
  HAL_NVIC_SetPriority(DMA1_Stream5_IRQn, 0, 0);
  HAL_NVIC_EnableIRQ(DMA1_Stream5_IRQn);
  /* DMA2_Stream0_IRQn interrupt configuration */
  HAL_NVIC_SetPriority(DMA2_Stream0_IRQn, 0, 0);
  HAL_NVIC_EnableIRQ(DMA2_Stream0_IRQn);

}

static void MX_GPIO_Init(void)
{
  GPIO_InitTypeDef GPIO_InitStruct = {0};

  /* GPIO Ports Clock Enable */
  __HAL_RCC_GPIOC_CLK_ENABLE();
  __HAL_RCC_GPIOH_CLK_ENABLE();
  __HAL_RCC_GPIOA_CLK_ENABLE();
  __HAL_RCC_GPIOB_CLK_ENABLE();

  /*Configure GPIO pin Output Level */
  HAL_GPIO_WritePin(GPIOC, GPIO_PIN_2|GPIO_PIN_6|GPIO_PIN_7, GPIO_PIN_RESET);

  /*Configure GPIO pin Output Level */
  HAL_GPIO_WritePin(GPIOA, GPIO_PIN_5, GPIO_PIN_RESET);

  /*Configure GPIO pin Output Level */
  HAL_GPIO_WritePin(GPIOB,
      GPIO_PIN_0|GPIO_PIN_1|GPIO_PIN_2|GPIO_PIN_10
      |GPIO_PIN_4|GPIO_PIN_5,
      GPIO_PIN_RESET);

  /*Configure GPIO pin : PC13 */
  GPIO_InitStruct.Pin = GPIO_PIN_13;
  GPIO_InitStruct.Mode = GPIO_MODE_IT_RISING;
  GPIO_InitStruct.Pull = GPIO_NOPULL;
  HAL_GPIO_Init(GPIOC, &GPIO_InitStruct);

  /*Configure GPIO pins : PC0 PC8 PC9 */
  GPIO_InitStruct.Pin = GPIO_PIN_0|GPIO_PIN_8|GPIO_PIN_9;
  GPIO_InitStruct.Mode = GPIO_MODE_INPUT;
  GPIO_InitStruct.Pull = GPIO_NOPULL;
  HAL_GPIO_Init(GPIOC, &GPIO_InitStruct);

  /*Configure GPIO pin : PC1 */
  GPIO_InitStruct.Pin = GPIO_PIN_1;
  GPIO_InitStruct.Mode = GPIO_MODE_INPUT;
  GPIO_InitStruct.Pull = GPIO_PULLUP;
  HAL_GPIO_Init(GPIOC, &GPIO_InitStruct);

  /*Configure GPIO pins : PC2 PC6 PC7 */
  GPIO_InitStruct.Pin = GPIO_PIN_2|GPIO_PIN_6|GPIO_PIN_7;
  GPIO_InitStruct.Mode = GPIO_MODE_OUTPUT_PP;
  GPIO_InitStruct.Pull = GPIO_NOPULL;
  GPIO_InitStruct.Speed = GPIO_SPEED_FREQ_LOW;
  HAL_GPIO_Init(GPIOC, &GPIO_InitStruct);

  /*Configure GPIO pin : PA5 */
  GPIO_InitStruct.Pin = GPIO_PIN_5;
  GPIO_InitStruct.Mode = GPIO_MODE_OUTPUT_PP;
  GPIO_InitStruct.Pull = GPIO_NOPULL;
  GPIO_InitStruct.Speed = GPIO_SPEED_FREQ_LOW;
  HAL_GPIO_Init(GPIOA, &GPIO_InitStruct);

  /*Configure GPIO pins : PB0 PB1 PB2 PB10
                           PB12 PB4 PB5 */
  GPIO_InitStruct.Pin = GPIO_PIN_0|GPIO_PIN_1|GPIO_PIN_2|GPIO_PIN_10
                        |GPIO_PIN_4|GPIO_PIN_5;
  GPIO_InitStruct.Mode = GPIO_MODE_OUTPUT_PP;
  GPIO_InitStruct.Pull = GPIO_NOPULL;
  GPIO_InitStruct.Speed = GPIO_SPEED_FREQ_LOW;
  HAL_GPIO_Init(GPIOB, &GPIO_InitStruct);

  /* DHT11 DATA - PB12 */
  GPIO_InitStruct.Pin = GPIO_PIN_12;
  GPIO_InitStruct.Mode = GPIO_MODE_INPUT;
  GPIO_InitStruct.Pull = GPIO_PULLUP;
  GPIO_InitStruct.Speed = GPIO_SPEED_FREQ_HIGH;

  HAL_GPIO_Init(GPIOB, &GPIO_InitStruct);

}

/* USER CODE BEGIN 4 */

void HAL_TIM_IC_CaptureCallback(TIM_HandleTypeDef *htim)
{
    if (htim->Instance == TIM3 &&
        htim->Channel == HAL_TIM_ACTIVE_CHANNEL_1)
    {
        uint32_t capture;

        tcs_edge_count++;

        capture = HAL_TIM_ReadCapturedValue(
            htim,
            TIM_CHANNEL_1
        );

        if (tcs_capture_state == 0)
        {
            tcs_capture1 = capture;
            tcs_capture_state = 1;
        }
        else
        {
            tcs_capture2 = capture;

            if (tcs_capture2 >= tcs_capture1)
            {
                tcs_period =
                    tcs_capture2 - tcs_capture1;
            }
            else
            {
                /*
                 * TIM3 is a 16-bit timer.
                 */
                tcs_period =
                    (0xFFFFUL - tcs_capture1)
                    + tcs_capture2
                    + 1UL;
            }

            tcs_capture_done = 1;
            tcs_capture_state = 0;
        }
    }
}

/* USER CODE END 4 */

void Error_Handler(void)
{
  __disable_irq();
  while (1)
  {
  }
}
